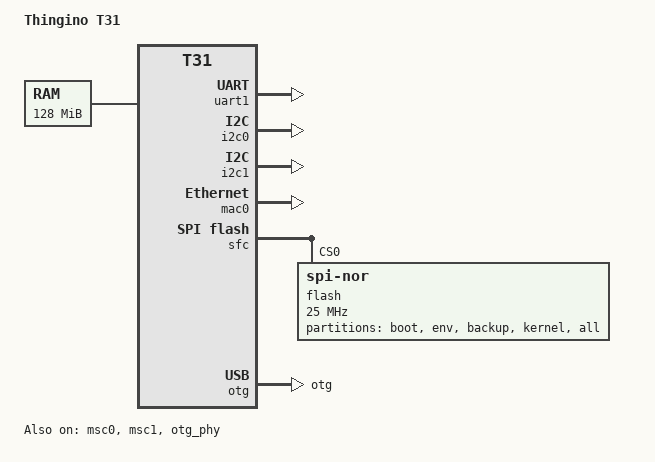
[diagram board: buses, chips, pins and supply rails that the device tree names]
// SPDX-License-Identifier: GPL-2.0
/dts-v1/;

#include <dt-bindings/clock/ingenic-t31.h>
#include <dt-bindings/input/input.h>
#include <dt-bindings/interrupt-controller/irq.h>
#include "t31.dtsi"
#include "t31-pinctrl.dtsi"

/ {
	compatible = "thingino,t31", "ingenic,swan", "ingenic,t31";
	model = "Thingino T31";

	aliases {
		/* Pin the SFC's SPI bus number so its MTD device name is a
		 * stable "spi1.0". The vendor SFC is driven through the
		 * mainline spi-nor framework, so the MTD is named after the
		 * SPI device, not jz_sfc; the U-Boot cmdline mtdparts id has
		 * to match it to supply the dynamic rootfs/data sizes. */
		spi1 = &sfc;
	};

	chosen {
		stdout-path = "serial1:115200n8";
	};

	memory@0 {
		device_type = "memory";
		reg = <0x0 0x8000000>;
	};
};

&uart0 {
	status = "disable";
};

&uart1 {
	status = "okay";
	pinctrl-names = "default";
	pinctrl-0 = <&uart1_pb>;
};

&uart2 {
	status = "disable";
};

&i2c0 {
	pinctrl-0 = <&i2c0_pa>;
	pinctrl-names = "default";
	status = "okay";
};

&i2c1 {
	pinctrl-0 = <&i2c1_pb>;
	pinctrl-names = "default";
	status = "okay";
};

&cpufreq {
	status = "okay";
	operating-points = <
		/*KHZ uV */
		1200000	900000
		750000	900000
		600000	900000
		500000	900000
		400000	900000
		375000	900000
		300000	900000
		200000	900000
		>;
};

&pdma {
	status = "okay";
};

&msc0 {
	status = "okay";
	/* The vendor pwrseq driver looks up a state literally named "active"
	   on power-on; declare it (same pin group) alongside "default". */
	pinctrl-names = "default", "active";
	/*mmc-hs200-1_8v;*/
	cap-mmc-highspeed;
	max-frequency = <25000000>;
	bus-width = <4>;
	voltage-ranges = <1800 3300>;
	cd-inverted;

	ingenic,removal-removable = <1>;
	/* special property */
	ingenic,wp-gpios = <0>;
	ingenic,cd-gpios = <&gpb 27 GPIO_ACTIVE_LOW INGENIC_GPIO_NOBIAS>;
	ingenic,rst-gpios = <0>;
	pinctrl-0 = <&msc0_pb>;
	pinctrl-1 = <&msc0_pb>;
};

&msc1 {
	status = "okay";
	/* The vendor pwrseq driver looks up a state literally named "active"
	   on power-on; declare it (same pin group) alongside "default". */
	pinctrl-names = "default", "active";
	/*mmc-hs200-1_8v;*/
	cap-mmc-highspeed;
	max-frequency = <50000000>;
	bus-width = <4>;
	voltage-ranges = <1800 3300>;
	non-removable;

	/* special property */
	ingenic,wp-gpios = <0>;
	ingenic,rst-gpios = <0>;
	pinctrl-0 = <&msc1_pb>;
	pinctrl-1 = <&msc1_pb>;
};

&mac0 {
	pinctrl-names = "default", "reset";
	pinctrl-0 = <&mac0_rmii_p0_normal>, <&mac0_rmii_p1_normal>;
	pinctrl-1 = <&mac0_rmii_p0_rst>, <&mac0_rmii_p1_normal>;
	status = "okay";
	ingenic,rst-gpio = <&gpc 7 GPIO_ACTIVE_LOW INGENIC_GPIO_NOBIAS>;
	ingenic,rst-ms = <10>;
	ingenic,mac-mode = <RMII>;
	ingenic,mode-reg = <0xb00000e8>;
	ingenic,phy-clk-freq = <50000000>;
};

&sfc {
	/* Use the mainline SFC controller driver (spi-ingenic-sfc) with the
	 * upstream spi-nor framework: it auto-detects the chip from the JEDEC
	 * table and takes partitions from the DT. The vendor v1 SFC instead
	 * needs a Burner-written flash geometry block we don't have. */
	compatible = "ingenic,t31-sfc";
	status = "okay";
	/* No pinctrl-0: the vendor T31 pinctrl driver is absent in the 5.15
	 * tree (only PRJ007/PRJ008 match) so a consumer would defer forever.
	 * The SPL has already muxed the SFC pins. */
	/delete-property/ pinctrl-names;
	/delete-property/ pinctrl-0;
	#address-cells = <1>;
	#size-cells = <0>;

	flash@0 {
		compatible = "jedec,spi-nor";
		reg = <0>;
		spi-max-frequency = <25000000>;

		partitions {
			compatible = "fixed-partitions";
			#address-cells = <1>;
			#size-cells = <1>;

			partition@0 {
				label = "boot";
				reg = <0x0 0x30000>;
				read-only;
			};

			partition@30000 {
				label = "env";
				reg = <0x30000 0x10000>;
			};

			partition@40000 {
				label = "backup";
				reg = <0x40000 0x10000>;
			};

			partition@50000 {
				label = "kernel";
				reg = <0x50000 0x240000>;
			};

			partition@0_all {
				label = "all";
				reg = <0x0 0x800000>;
			};
		};
	};
};

&otg {
	g-use-dma;
	dr_mode = "otg";
	status = "okay";
};

&otg_phy {
	dr_mode = "otg";
	compatible = "ingenic,innophy", "syscon";
	status = "okay";
};

/* The jz-ipu driver takes its clock through devm_clk_get(dev, "gate_ipu");
   the 3.10 vendor driver resolved it from the global clock namespace, but
   4.4+/5.15 require it declared on the node or probe fails with -ENOENT.
   libimp runs every captured frame through this IPU on the way to the
   encoder, so without it /dev/ipu is absent and the encoder emits nothing. */
&ipu {
	clocks = <&clock CLK_GATE_IPU>;
	clock-names = "gate_ipu";
};

/ {
	extclk: extclk {
		clock-frequency = <24000000>;
	};
};

#include "cinnado_d1_t31l_sc2336_atbm6031.dtsi"

#include "thingino-t31-thingino-usb.dtsi"
